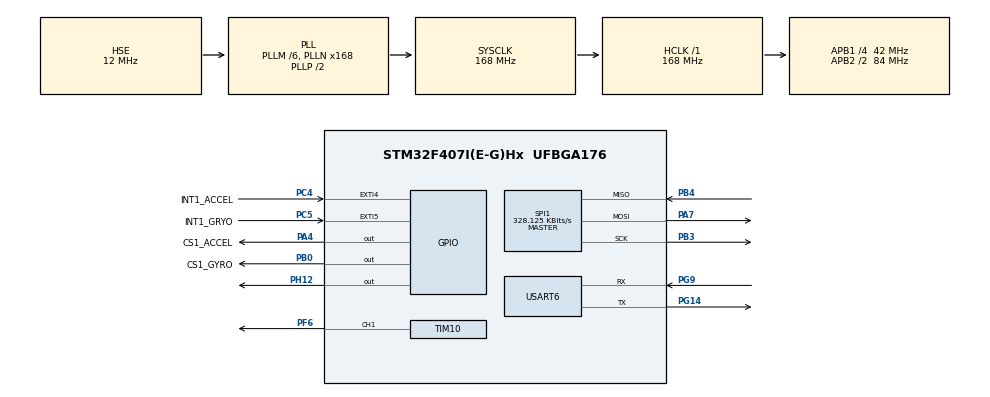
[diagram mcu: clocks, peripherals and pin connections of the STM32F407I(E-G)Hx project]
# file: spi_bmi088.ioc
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Dma.Request0=SPI1_RX
Dma.Request1=SPI1_TX
Dma.Request2=USART6_RX
Dma.Request3=USART6_TX
Dma.SPI1_RX.0.Direction=DMA_PERIPH_TO_MEMORY
Dma.SPI1_RX.0.FIFOMode=DMA_FIFOMODE_DISABLE
Dma.SPI1_RX.0.Instance=DMA2_Stream2
Dma.SPI1_RX.0.MemDataAlignment=DMA_MDATAALIGN_BYTE
Dma.SPI1_RX.0.MemInc=DMA_MINC_ENABLE
Dma.SPI1_RX.0.Mode=DMA_NORMAL
Dma.SPI1_RX.0.PeriphDataAlignment=DMA_PDATAALIGN_BYTE
Dma.SPI1_RX.0.PeriphInc=DMA_PINC_DISABLE
Dma.SPI1_RX.0.Priority=DMA_PRIORITY_VERY_HIGH
Dma.SPI1_TX.1.Direction=DMA_MEMORY_TO_PERIPH
Dma.SPI1_TX.1.FIFOMode=DMA_FIFOMODE_DISABLE
Dma.SPI1_TX.1.Instance=DMA2_Stream3
Dma.SPI1_TX.1.MemDataAlignment=DMA_MDATAALIGN_BYTE
Dma.SPI1_TX.1.MemInc=DMA_MINC_ENABLE
Dma.SPI1_TX.1.Mode=DMA_NORMAL
Dma.SPI1_TX.1.PeriphDataAlignment=DMA_PDATAALIGN_BYTE
Dma.SPI1_TX.1.PeriphInc=DMA_PINC_DISABLE
Dma.SPI1_TX.1.Priority=DMA_PRIORITY_HIGH
Dma.USART6_RX.2.Direction=DMA_PERIPH_TO_MEMORY
Dma.USART6_RX.2.FIFOMode=DMA_FIFOMODE_DISABLE
Dma.USART6_RX.2.Instance=DMA2_Stream1
Dma.USART6_RX.2.MemDataAlignment=DMA_MDATAALIGN_BYTE
Dma.USART6_RX.2.MemInc=DMA_MINC_ENABLE
Dma.USART6_RX.2.Mode=DMA_NORMAL
Dma.USART6_RX.2.PeriphDataAlignment=DMA_PDATAALIGN_BYTE
Dma.USART6_RX.2.PeriphInc=DMA_PINC_DISABLE
Dma.USART6_RX.2.Priority=DMA_PRIORITY_MEDIUM
Dma.USART6_TX.3.Direction=DMA_MEMORY_TO_PERIPH
Dma.USART6_TX.3.FIFOMode=DMA_FIFOMODE_DISABLE
Dma.USART6_TX.3.Instance=DMA2_Stream6
Dma.USART6_TX.3.MemDataAlignment=DMA_MDATAALIGN_BYTE
Dma.USART6_TX.3.MemInc=DMA_MINC_ENABLE
Dma.USART6_TX.3.Mode=DMA_NORMAL
Dma.USART6_TX.3.PeriphDataAlignment=DMA_PDATAALIGN_BYTE
Dma.USART6_TX.3.PeriphInc=DMA_PINC_DISABLE
Dma.USART6_TX.3.Priority=DMA_PRIORITY_MEDIUM
Mcu.Family=STM32F4
Mcu.Name=STM32F407I(E-G)Hx
Mcu.Package=UFBGA176
NVIC.DMA2_Stream1_IRQn=true\:0\:0\:false\:false\:true\:false\:true\:true
NVIC.DMA2_Stream2_IRQn=true\:5\:0\:true\:false\:false\:false\:true\:true
NVIC.DMA2_Stream3_IRQn=true\:0\:0\:false\:false\:false\:false\:true\:true
NVIC.DMA2_Stream6_IRQn=true\:0\:0\:false\:false\:true\:false\:true\:true
NVIC.EXTI4_IRQn=true\:0\:0\:false\:false\:true\:true\:true\:true
NVIC.EXTI9_5_IRQn=true\:0\:0\:false\:false\:true\:true\:true\:true
NVIC.PriorityGroup=NVIC_PRIORITYGROUP_4
NVIC.USART6_IRQn=true\:0\:0\:false\:false\:true\:true\:true\:true
PA13.Mode=Serial_Wire
PA13.Signal=SYS_JTMS-SWDIO
PA14.Mode=Serial_Wire
PA14.Signal=SYS_JTCK-SWCLK
PA4.GPIO_Label=CS1_ACCEL
PA4.GPIO_PuPd=GPIO_PULLUP
PA4.GPIO_Speed=GPIO_SPEED_FREQ_HIGH
PA4.PinState=GPIO_PIN_SET
PA4.Signal=GPIO_Output
PA7.Mode=Full_Duplex_Master
PA7.Signal=SPI1_MOSI
PB0.GPIO_Label=CS1_GYRO
PB0.GPIO_PuPd=GPIO_PULLUP
PB0.GPIO_Speed=GPIO_SPEED_FREQ_HIGH
PB0.PinState=GPIO_PIN_SET
PB0.Signal=GPIO_Output
PB3.Mode=Full_Duplex_Master
PB3.Signal=SPI1_SCK
PB4.Mode=Full_Duplex_Master
PB4.Signal=SPI1_MISO
PC4.GPIO_Label=INT1_ACCEL
PC4.GPIO_ModeDefaultEXTI=GPIO_MODE_IT_FALLING
PC4.GPIO_PuPd=GPIO_PULLUP
PC4.Signal=GPXTI4
PC5.GPIO_Label=INT1_GRYO
PC5.GPIO_ModeDefaultEXTI=GPIO_MODE_IT_FALLING
PC5.GPIO_PuPd=GPIO_PULLUP
PC5.Signal=GPXTI5
PF6.GPIO_PuPd=GPIO_PULLUP
PF6.GPIO_Speed=GPIO_SPEED_FREQ_HIGH
PF6.Signal=S_TIM10_CH1
PG14.Mode=Asynchronous
PG14.Signal=USART6_TX
PG9.Mode=Asynchronous
PG9.Signal=USART6_RX
PH0-OSC_IN.Mode=HSE-External-Oscillator
PH0-OSC_IN.Signal=RCC_OSC_IN
PH1-OSC_OUT.Mode=HSE-External-Oscillator
PH1-OSC_OUT.Signal=RCC_OSC_OUT
PH12.GPIO_ModeDefaultOutputPP=GPIO_MODE_OUTPUT_PP
PH12.GPIO_Speed=GPIO_SPEED_FREQ_MEDIUM
PH12.PinState=GPIO_PIN_RESET
PH12.Signal=GPIO_Output
ProjectManager.HeapSize=0x2000
ProjectManager.StackSize=0x2000
ProjectManager.TargetToolchain=MDK-ARM V5
RCC.48MHZClocksFreq_Value=48000000
RCC.AHBFreq_Value=168000000
RCC.APB1CLKDivider=RCC_HCLK_DIV4
RCC.APB1Freq_Value=42000000
RCC.APB1TimFreq_Value=84000000
RCC.APB2CLKDivider=RCC_HCLK_DIV2
RCC.APB2Freq_Value=84000000
RCC.APB2TimFreq_Value=168000000
RCC.CortexFreq_Value=168000000
RCC.HCLKFreq_Value=168000000
RCC.HSE_VALUE=12000000
RCC.HSI_VALUE=16000000
RCC.LSE_VALUE=32768
RCC.PLLM=6
RCC.PLLN=168
RCC.PLLQ=7
RCC.PLLSourceVirtual=RCC_PLLSOURCE_HSE
RCC.RCC_RTC_Clock_SourceVirtual=RCC_RTCCLKSOURCE_HSE_DIV30
RCC.RCC_RTC_Clock_Source_FROM_HSE=RCC_RTCCLKSOURCE_HSE_DIV30
RCC.SYSCLKFreq_VALUE=168000000
RCC.SYSCLKSource=RCC_SYSCLKSOURCE_PLLCLK
RCC.VCOOutputFreq_Value=336000000
SH.S_TIM10_CH1.0=TIM10_CH1,PWM Generation1 CH1
SPI1.BaudRatePrescaler=SPI_BAUDRATEPRESCALER_256
SPI1.CLKPhase=SPI_PHASE_2EDGE
SPI1.CLKPolarity=SPI_POLARITY_HIGH
SPI1.CalculateBaudRate=328.125 KBits/s
SPI1.Direction=SPI_DIRECTION_2LINES
SPI1.Mode=SPI_MODE_MASTER
SPI1.VirtualType=VM_MASTER
TIM10.Channel=TIM_CHANNEL_1
TIM10.Period=4999
USART6.VirtualMode=VM_ASYNC
VP_TIM10_VS_ClockSourceINT.Mode=Enable_Timer
board=custom

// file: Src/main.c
/* USER CODE BEGIN Header */
/**
  ******************************************************************************
  * @file           : main.c
  * @brief          : Main program body
  ******************************************************************************
  * @attention
  *
  * <h2><center>&copy; Copyright (c) 2019 STMicroelectronics.
  * All rights reserved.</center></h2>
  *
  * This software component is licensed by ST under Ultimate Liberty license
  * SLA0044, the "License"; You may not use this file except in compliance with
  * the License. You may obtain a copy of the License at:
  *                             www.st.com/SLA0044
  *
  ******************************************************************************
  */
/* USER CODE END Header */
#include "main.h"
#include "dma.h"
#include "spi.h"
#include "tim.h"
#include "usart.h"
#include "gpio.h"

/* USER CODE BEGIN Includes */
#include "BMI088driver.h"
#include <string.h>
/* USER CODE END Includes */

void SystemClock_Config(void);

/* USER CODE BEGIN 0 */
fp32 gyro[3], accel[3], temp;
uint8_t last[4]={0x00,0x00,0x80,0x7f};
float final[3];
extern float Pitch , Roll , Yaw ;
/* USER CODE END 0 */

int main(void)
{

  /* MCU Configuration--------------------------------------------------------*/

  /* Reset of all peripherals, Initializes the Flash interface and the Systick. */
  HAL_Init();

  /* Configure the system clock */
  SystemClock_Config();

  /* Initialize all configured peripherals */
  MX_GPIO_Init();
  MX_DMA_Init();
  MX_SPI1_Init();
  MX_TIM10_Init();
  MX_USART6_UART_Init();
  /* USER CODE BEGIN 2 */
    while(BMI088_init())
    {
        ;
    }
  /* USER CODE END 2 */

  /* Infinite loop */
  while (1)
  {

    /* USER CODE BEGIN 3 */
    BMI088_read(gyro, accel, &temp);
		Madgwick_Init(&gyro[0],&gyro[1],&gyro[2],&accel[0],&accel[1],&accel[2]);
		MadgwickAHRSupdate_6(gyro[0],gyro[1],gyro[2],accel[0],accel[1],accel[2]);
		final[0]=(float)Pitch;
		final[1]=(float)Roll;
		final[2]=(float)Yaw;
		      //normal part
		/*HAL_UART_Transmit(&huart6, (uint8_t *)&Pitch , (sizeof(float)),0xFFFF);
		HAL_UART_Transmit(&huart6, (uint8_t *)&Roll, (sizeof(float)), 0xFFFF);
		HAL_UART_Transmit(&huart6, (uint8_t *)&Yaw, (sizeof(float)), 0xFFFF);
		HAL_UART_Transmit(&huart6, (uint8_t*)last, (sizeof(uint8_t)*4), 0xFFFF);*/

		HAL_UART_Transmit_DMA(&huart6, (uint8_t *)&final, (sizeof(final)));
		HAL_Delay(5);
		HAL_UART_Transmit_DMA(&huart6, (uint8_t *)last, (sizeof(uint8_t)*4));

		if(recv_end_flag == 1)  //??????
		{
			rx_len = 0;//????
			recv_end_flag = 0;//?????????
			HAL_GPIO_TogglePin(GPIOH, GPIO_PIN_12);
			memset(rx_buffer,0,rx_len);
    }
		HAL_UART_Receive_DMA(&huart6,rx_buffer,BUFFER_SIZE);//????DMA??
        HAL_Delay(50);
  }
  /* USER CODE END 3 */
}

void SystemClock_Config(void)
{
  RCC_OscInitTypeDef RCC_OscInitStruct = {0};
  RCC_ClkInitTypeDef RCC_ClkInitStruct = {0};

  /** Configure the main internal regulator output voltage
  */
  __HAL_RCC_PWR_CLK_ENABLE();
  __HAL_PWR_VOLTAGESCALING_CONFIG(PWR_REGULATOR_VOLTAGE_SCALE1);

  /** Initializes the RCC Oscillators according to the specified parameters
  * in the RCC_OscInitTypeDef structure.
  */
  RCC_OscInitStruct.OscillatorType = RCC_OSCILLATORTYPE_HSE;
  RCC_OscInitStruct.HSEState = RCC_HSE_ON;
  RCC_OscInitStruct.PLL.PLLState = RCC_PLL_ON;
  RCC_OscInitStruct.PLL.PLLSource = RCC_PLLSOURCE_HSE;
  RCC_OscInitStruct.PLL.PLLM = 6;
  RCC_OscInitStruct.PLL.PLLN = 168;
  RCC_OscInitStruct.PLL.PLLP = RCC_PLLP_DIV2;
  RCC_OscInitStruct.PLL.PLLQ = 7;
  if (HAL_RCC_OscConfig(&RCC_OscInitStruct) != HAL_OK)
  {
    Error_Handler();
  }

  /** Initializes the CPU, AHB and APB buses clocks
  */
  RCC_ClkInitStruct.ClockType = RCC_CLOCKTYPE_HCLK|RCC_CLOCKTYPE_SYSCLK
                              |RCC_CLOCKTYPE_PCLK1|RCC_CLOCKTYPE_PCLK2;
  RCC_ClkInitStruct.SYSCLKSource = RCC_SYSCLKSOURCE_PLLCLK;
  RCC_ClkInitStruct.AHBCLKDivider = RCC_SYSCLK_DIV1;
  RCC_ClkInitStruct.APB1CLKDivider = RCC_HCLK_DIV4;
  RCC_ClkInitStruct.APB2CLKDivider = RCC_HCLK_DIV2;

  if (HAL_RCC_ClockConfig(&RCC_ClkInitStruct, FLASH_LATENCY_5) != HAL_OK)
  {
    Error_Handler();
  }
}

void Error_Handler(void)
{
}
